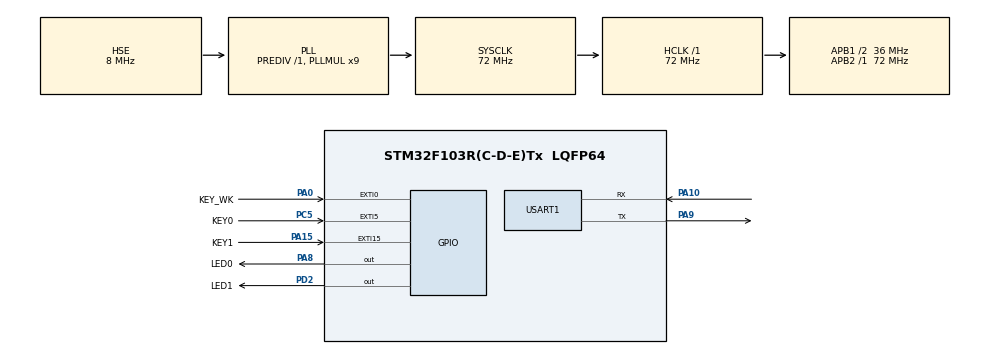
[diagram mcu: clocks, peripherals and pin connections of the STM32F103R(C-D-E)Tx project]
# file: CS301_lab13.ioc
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Mcu.Family=STM32F1
Mcu.Name=STM32F103R(C-D-E)Tx
Mcu.Package=LQFP64
NVIC.PriorityGroup=NVIC_PRIORITYGROUP_4
PA0-WKUP.GPIO_Label=KEY_WK
PA0-WKUP.GPIO_PuPd=GPIO_PULLDOWN
PA0-WKUP.Signal=GPXTI0
PA10.Mode=Asynchronous
PA10.Signal=USART1_RX
PA13.Mode=Serial_Wire
PA13.Signal=SYS_JTMS-SWDIO
PA14.Mode=Serial_Wire
PA14.Signal=SYS_JTCK-SWCLK
PA15.GPIO_Label=KEY1
PA15.GPIO_PuPd=GPIO_PULLUP
PA15.Signal=GPXTI15
PA8.GPIO_Label=LED0
PA8.Signal=GPIO_Output
PA9.Mode=Asynchronous
PA9.Signal=USART1_TX
PC14-OSC32_IN.Mode=LSE-External-Oscillator
PC14-OSC32_IN.Signal=RCC_OSC32_IN
PC15-OSC32_OUT.Mode=LSE-External-Oscillator
PC15-OSC32_OUT.Signal=RCC_OSC32_OUT
PC5.GPIO_Label=KEY0
PC5.GPIO_PuPd=GPIO_PULLUP
PC5.Signal=GPXTI5
PD0-OSC_IN.Mode=HSE-External-Oscillator
PD0-OSC_IN.Signal=RCC_OSC_IN
PD1-OSC_OUT.Mode=HSE-External-Oscillator
PD1-OSC_OUT.Signal=RCC_OSC_OUT
PD2.GPIO_Label=LED1
PD2.Signal=GPIO_Output
ProjectManager.HeapSize=0x200
ProjectManager.StackSize=0x400
ProjectManager.TargetToolchain=STM32CubeIDE
RCC.AHBFreq_Value=72000000
RCC.APB1CLKDivider=RCC_HCLK_DIV2
RCC.APB1Freq_Value=36000000
RCC.APB1TimFreq_Value=72000000
RCC.APB2Freq_Value=72000000
RCC.APB2TimFreq_Value=72000000
RCC.HCLKFreq_Value=72000000
RCC.PLLMUL=RCC_PLL_MUL9
RCC.PLLSourceVirtual=RCC_PLLSOURCE_HSE
RCC.RTCClockSelection=RCC_RTCCLKSOURCE_LSE
RCC.SYSCLKFreq_VALUE=72000000
RCC.SYSCLKSource=RCC_SYSCLKSOURCE_PLLCLK
RCC.USBFreq_Value=72000000
USART1.VirtualMode=VM_ASYNC
VP_RTC_VS_RTC_Activate.Mode=RTC_Enabled
board=custom

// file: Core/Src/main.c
/* USER CODE BEGIN Header */
/**
  ******************************************************************************
  * @file           : main.c
  * @brief          : Main program body
  ******************************************************************************
  * @attention
  *
  * <h2><center>&copy; Copyright (c) 2019 STMicroelectronics.
  * All rights reserved.</center></h2>
  *
  * This software component is licensed by ST under BSD 3-Clause license,
  * the "License"; You may not use this file except in compliance with the
  * License. You may obtain a copy of the License at:
  *                        opensource.org/licenses/BSD-3-Clause
  *
  ******************************************************************************
  */
/* USER CODE END Header */

#include "main.h"
#include "lcd.h"
#include <stdlib.h>
#include "data.h"
#include "draw.h"
#include "run.h"

RTC_HandleTypeDef hrtc;
RTC_TimeTypeDef stimestructure;
UART_HandleTypeDef huart1;

void SystemClock_Config(void);
static void MX_GPIO_Init(void);
static void MX_USART1_UART_Init(void);
static void MX_RTC_Init(void);
/* USER CODE BEGIN PFP */
void all_init(void);
void init_interface_info(void);
void init_interface_info_second_time(void);
void init_interface_info_new_level(void);
void draw_all_through_struct(int);
/* USER CODE END PFP */

int main(void)
{

  /* MCU Configuration--------------------------------------------------------*/

  /* Reset of all peripherals, Initializes the Flash interface and the Systick. */
  HAL_Init();

  /* Configure the system clock */
  SystemClock_Config();

  /* USER CODE BEGIN SysInit */
  LCD_Init();
  /* USER CODE END SysInit */

  /* Initialize all configured peripherals */
  MX_GPIO_Init();
  MX_USART1_UART_Init();
  MX_RTC_Init();
  /* USER CODE BEGIN 2 */
  int TIME = 60;
  int INTERVAL = 10;
  int current_timestamp;
  all_init();
  draw_all_through_struct(TIME);
  HAL_Delay(500);
  /* USER CODE END 2 */

  /* Infinite loop */
  /* USER CODE BEGIN WHILE */
  while (1)
  {
	  if(interface.level == 0){
		  HAL_RTC_GetTime(&hrtc, &stimestructure, RTC_FORMAT_BIN);
		  interface.start_timestamp = stimestructure.Hours * 3600 + stimestructure.Minutes * 60 + stimestructure.Seconds;
	  }
	  while(1){
		  HAL_RTC_GetTime(&hrtc, &stimestructure, RTC_FORMAT_BIN);
		  current_timestamp = stimestructure.Hours * 3600 + stimestructure.Minutes * 60 + stimestructure.Seconds;
		  if(interface.life == 0 || current_timestamp - interface.start_timestamp >= TIME){break;}
		  if(interface.score !=0 && interface.score % INTERVAL == 0 && interface.level < 3 && interface.level != interface.score/INTERVAL){
			  interface.level = interface.score/INTERVAL;
			  //clear_all_enemy_plane(interface.my_plane,interface.enemy_planes);
			  //interface.boss[0] = 1;
			  break;
		  }

		  switch_my_act(interface.my_plane,interface.my_buttles);
		  update_my_buttles(interface.my_buttles);

		  if(interface.boss[0] == 0){
			  update_enemy_planes(interface.level, interface.enemy_planes);
			  generate_enemy_planes(interface.level,interface.enemy_planes);
			  check_my_plane_to_enemy_plane_collide(&(interface.score),&(interface.life),	interface.my_plane,interface.enemy_planes);
			  check_my_buttles_to_enemy_plane_collide(&(interface.score),	interface.my_buttles, interface.enemy_planes);
		  }

		  draw_all_through_struct(current_timestamp - interface.start_timestamp);
		  HAL_Delay(15);
	  }

	  if(interface.life && current_timestamp - interface.start_timestamp < TIME){
		  draw_new_level(interface.level);
		  KEY0_or_POWER_to_skip();
		  LCD_Clear(GRAY);
		  init_interface_info_new_level();
		  init_play_interface();

		  draw_all_through_struct(current_timestamp - interface.start_timestamp);
	  } else {
		  draw_end(&(interface.score),&(interface.score_2),&(interface.score_3));
		  KEY0_or_POWER_to_skip();

		  //初始界面初始�?????
		  draw_start_page();
		  KEY0_or_POWER_to_skip();
		  LCD_Clear(GRAY);

		  //游玩界面数据初始�?????
		  init_interface_info_second_time();
		  init_play_interface();

		  draw_all_through_struct(TIME);
	  }
	  //游玩界面初始�?????

	  HAL_Delay(500);
  }
    /* USER CODE END WHILE */

}

void SystemClock_Config(void)
{
  RCC_OscInitTypeDef RCC_OscInitStruct = {0};
  RCC_ClkInitTypeDef RCC_ClkInitStruct = {0};
  RCC_PeriphCLKInitTypeDef PeriphClkInit = {0};

  /** Initializes the CPU, AHB and APB busses clocks
  */
  RCC_OscInitStruct.OscillatorType = RCC_OSCILLATORTYPE_HSE|RCC_OSCILLATORTYPE_LSE;
  RCC_OscInitStruct.HSEState = RCC_HSE_ON;
  RCC_OscInitStruct.HSEPredivValue = RCC_HSE_PREDIV_DIV1;
  RCC_OscInitStruct.LSEState = RCC_LSE_ON;
  RCC_OscInitStruct.HSIState = RCC_HSI_ON;
  RCC_OscInitStruct.PLL.PLLState = RCC_PLL_ON;
  RCC_OscInitStruct.PLL.PLLSource = RCC_PLLSOURCE_HSE;
  RCC_OscInitStruct.PLL.PLLMUL = RCC_PLL_MUL9;
  if (HAL_RCC_OscConfig(&RCC_OscInitStruct) != HAL_OK)
  {
    Error_Handler();
  }
  /** Initializes the CPU, AHB and APB busses clocks
  */
  RCC_ClkInitStruct.ClockType = RCC_CLOCKTYPE_HCLK|RCC_CLOCKTYPE_SYSCLK
                              |RCC_CLOCKTYPE_PCLK1|RCC_CLOCKTYPE_PCLK2;
  RCC_ClkInitStruct.SYSCLKSource = RCC_SYSCLKSOURCE_PLLCLK;
  RCC_ClkInitStruct.AHBCLKDivider = RCC_SYSCLK_DIV1;
  RCC_ClkInitStruct.APB1CLKDivider = RCC_HCLK_DIV2;
  RCC_ClkInitStruct.APB2CLKDivider = RCC_HCLK_DIV1;

  if (HAL_RCC_ClockConfig(&RCC_ClkInitStruct, FLASH_LATENCY_2) != HAL_OK)
  {
    Error_Handler();
  }
  PeriphClkInit.PeriphClockSelection = RCC_PERIPHCLK_RTC;
  PeriphClkInit.RTCClockSelection = RCC_RTCCLKSOURCE_LSE;
  if (HAL_RCCEx_PeriphCLKConfig(&PeriphClkInit) != HAL_OK)
  {
    Error_Handler();
  }
}

static void MX_RTC_Init(void)
{

  /** Initialize RTC Only
  */
  hrtc.Instance = RTC;
  hrtc.Init.AsynchPrediv = RTC_AUTO_1_SECOND;
  hrtc.Init.OutPut = RTC_OUTPUTSOURCE_ALARM;
  if (HAL_RTC_Init(&hrtc) != HAL_OK)
  {
    Error_Handler();
  }
  /* USER CODE BEGIN RTC_Init 2 */
  /*Configure GPIO pin Output Level */
  HAL_GPIO_WritePin(LED0_GPIO_Port, LED0_Pin, GPIO_PIN_SET);

  /*Configure GPIO pin Output Level */
  HAL_GPIO_WritePin(LED1_GPIO_Port, LED1_Pin, GPIO_PIN_SET);
  /* USER CODE END RTC_Init 2 */

}

static void MX_USART1_UART_Init(void)
{

  huart1.Instance = USART1;
  huart1.Init.BaudRate = 115200;
  huart1.Init.WordLength = UART_WORDLENGTH_8B;
  huart1.Init.StopBits = UART_STOPBITS_1;
  huart1.Init.Parity = UART_PARITY_NONE;
  huart1.Init.Mode = UART_MODE_TX_RX;
  huart1.Init.HwFlowCtl = UART_HWCONTROL_NONE;
  huart1.Init.OverSampling = UART_OVERSAMPLING_16;
  if (HAL_UART_Init(&huart1) != HAL_OK)
  {
    Error_Handler();
  }

}

static void MX_GPIO_Init(void)
{
  GPIO_InitTypeDef GPIO_InitStruct = {0};

  /* GPIO Ports Clock Enable */
  __HAL_RCC_GPIOC_CLK_ENABLE();
  __HAL_RCC_GPIOD_CLK_ENABLE();
  __HAL_RCC_GPIOA_CLK_ENABLE();

  /*Configure GPIO pin Output Level */
  HAL_GPIO_WritePin(LED0_GPIO_Port, LED0_Pin, GPIO_PIN_SET);

  /*Configure GPIO pin Output Level */
  HAL_GPIO_WritePin(LED1_GPIO_Port, LED1_Pin, GPIO_PIN_SET);

  /*Configure GPIO pin : KEY_WK_Pin */
  GPIO_InitStruct.Pin = KEY_WK_Pin;
  GPIO_InitStruct.Mode = GPIO_MODE_IT_RISING;
  GPIO_InitStruct.Pull = GPIO_PULLDOWN;
  HAL_GPIO_Init(KEY_WK_GPIO_Port, &GPIO_InitStruct);

  /*Configure GPIO pin : KEY0_Pin */
  GPIO_InitStruct.Pin = KEY0_Pin;
  GPIO_InitStruct.Mode = GPIO_MODE_IT_RISING;
  GPIO_InitStruct.Pull = GPIO_PULLUP;
  HAL_GPIO_Init(KEY0_GPIO_Port, &GPIO_InitStruct);

  /*Configure GPIO pin : LED0_Pin */
  GPIO_InitStruct.Pin = LED0_Pin;
  GPIO_InitStruct.Mode = GPIO_MODE_OUTPUT_PP;
  GPIO_InitStruct.Pull = GPIO_NOPULL;
  GPIO_InitStruct.Speed = GPIO_SPEED_FREQ_LOW;
  HAL_GPIO_Init(LED0_GPIO_Port, &GPIO_InitStruct);

  /*Configure GPIO pin : KEY1_Pin */
  GPIO_InitStruct.Pin = KEY1_Pin;
  GPIO_InitStruct.Mode = GPIO_MODE_IT_RISING;
  GPIO_InitStruct.Pull = GPIO_PULLUP;
  HAL_GPIO_Init(KEY1_GPIO_Port, &GPIO_InitStruct);

  /*Configure GPIO pin : LED1_Pin */
  GPIO_InitStruct.Pin = LED1_Pin;
  GPIO_InitStruct.Mode = GPIO_MODE_OUTPUT_PP;
  GPIO_InitStruct.Pull = GPIO_NOPULL;
  GPIO_InitStruct.Speed = GPIO_SPEED_FREQ_LOW;
  HAL_GPIO_Init(LED1_GPIO_Port, &GPIO_InitStruct);

}

/* USER CODE BEGIN 4 */
void draw_all_through_struct(int limit){
	draw_play_all(interface.score,interface.life,	interface.my_plane,interface.my_buttles,	interface.boss,	interface.enemy_planes,interface.enemy_buttles, limit);
}

void all_init(void){
 	LCD_Init();
	BACK_COLOR=GRAY;

	POINT_COLOR=BLACK;//设置字体为黑�????
	LCD_Clear(GRAY);

	//初始界面初始�????
	draw_start_page();
	KEY0_or_POWER_to_skip();
	LCD_Clear(GRAY);

	//游玩界面数据初始�????
	init_interface_info();

	init_play_interface();
}

void init_interface_info(void){
	int i=0;

	interface.score = 0;
	interface.score_2 = 0;
	interface.score_3 = 0;

	interface.life = 3;

	interface.my_plane[0] = 120;	interface.my_plane[1] = 290;

	for(i=0; i<my_buttle_max; i++){
		interface.my_buttles[i][0] = 0;
		interface.my_buttles[i][1] = 0;
	}

	interface.level = 0;
	interface.boss[0] = 0;	 interface.boss[1] = 0;
	interface.boss_life = 0;

	for(i=0; i<enemy_plane_max; i++){
		interface.enemy_planes[i][0] = 0;
		interface.enemy_planes[i][1] = 0;
	}

	for(i=0; i<enemy_buttle_max; i++){
		interface.enemy_buttles[i][0] = 0;
		interface.enemy_buttles[i][1] = 0;
	}
}

void init_interface_info_second_time(void){
	int i=0;

	interface.life = 3;

	interface.my_plane[0] = 120;	interface.my_plane[1] = 290;

	for(i=0; i<my_buttle_max; i++){
		interface.my_buttles[i][0] = 0;
		interface.my_buttles[i][1] = 0;
	}

	interface.level = 0;
	interface.boss[0] = 0;	 interface.boss[1] = 0;
	interface.boss_life = 0;

	for(i=0; i<enemy_plane_max; i++){
		interface.enemy_planes[i][0] = 0;
		interface.enemy_planes[i][1] = 0;
	}

	for(i=0; i<enemy_buttle_max; i++){
		interface.enemy_buttles[i][0] = 0;
		interface.enemy_buttles[i][1] = 0;
	}
}

void init_interface_info_new_level(void){
	int i = 0;
	for(i=0; i<my_buttle_max; i++){
			interface.my_buttles[i][0] = 0;
			interface.my_buttles[i][1] = 0;
	}

	interface.boss[0] = 0;	 interface.boss[1] = 0;
	interface.boss_life = 0;

	for(i=0; i<enemy_plane_max; i++){
		interface.enemy_planes[i][0] = 0;
		interface.enemy_planes[i][1] = 0;
	}

	for(i=0; i<enemy_buttle_max; i++){
		interface.enemy_buttles[i][0] = 0;
		interface.enemy_buttles[i][1] = 0;
	}
}
/* USER CODE END 4 */

void Error_Handler(void)
{
}

/************************ (C) COPYRIGHT STMicroelectronics *****END OF FILE****/
